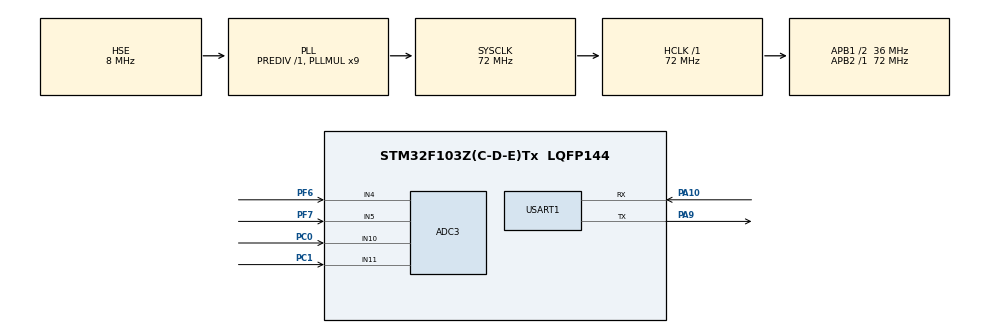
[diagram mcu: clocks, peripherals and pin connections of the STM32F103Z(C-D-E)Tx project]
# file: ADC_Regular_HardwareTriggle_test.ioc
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ADC3.Channel-0\#ChannelRegularConversion=ADC_CHANNEL_11
ADC3.Channel-1\#ChannelRegularConversion=ADC_CHANNEL_10
ADC3.Channel-2\#ChannelRegularConversion=ADC_CHANNEL_5
ADC3.Channel-3\#ChannelRegularConversion=ADC_CHANNEL_4
ADC3.ExternalTrigConv=ADC_EXTERNALTRIGCONV_T8_TRGO
ADC3.NbrOfConversion=4
ADC3.NbrOfConversionFlag=1
ADC3.Rank-0\#ChannelRegularConversion=1
ADC3.Rank-1\#ChannelRegularConversion=2
ADC3.Rank-2\#ChannelRegularConversion=3
ADC3.Rank-3\#ChannelRegularConversion=4
ADC3.SamplingTime-0\#ChannelRegularConversion=ADC_SAMPLETIME_1CYCLE_5
ADC3.SamplingTime-1\#ChannelRegularConversion=ADC_SAMPLETIME_1CYCLE_5
ADC3.SamplingTime-2\#ChannelRegularConversion=ADC_SAMPLETIME_1CYCLE_5
ADC3.SamplingTime-3\#ChannelRegularConversion=ADC_SAMPLETIME_1CYCLE_5
Dma.ADC3.0.Direction=DMA_PERIPH_TO_MEMORY
Dma.ADC3.0.Instance=DMA2_Channel5
Dma.ADC3.0.MemDataAlignment=DMA_MDATAALIGN_HALFWORD
Dma.ADC3.0.MemInc=DMA_MINC_ENABLE
Dma.ADC3.0.Mode=DMA_CIRCULAR
Dma.ADC3.0.PeriphDataAlignment=DMA_PDATAALIGN_HALFWORD
Dma.ADC3.0.PeriphInc=DMA_PINC_DISABLE
Dma.ADC3.0.Priority=DMA_PRIORITY_LOW
Dma.Request0=ADC3
Mcu.Family=STM32F1
Mcu.Name=STM32F103Z(C-D-E)Tx
Mcu.Package=LQFP144
NVIC.DMA2_Channel4_5_IRQn=true\:0\:0\:false\:false\:true\:false\:true\:true
NVIC.PriorityGroup=NVIC_PRIORITYGROUP_4
OSC_IN.Mode=HSE-External-Oscillator
OSC_IN.Signal=RCC_OSC_IN
OSC_OUT.Mode=HSE-External-Oscillator
OSC_OUT.Signal=RCC_OSC_OUT
PA10.Mode=Asynchronous
PA10.Signal=USART1_RX
PA13.Mode=Serial_Wire
PA13.Signal=SYS_JTMS-SWDIO
PA14.Mode=Serial_Wire
PA14.Signal=SYS_JTCK-SWCLK
PA9.Mode=Asynchronous
PA9.Signal=USART1_TX
PC0.Signal=ADCx_IN10
PC1.Signal=ADCx_IN11
PF6.Mode=IN4
PF6.Signal=ADC3_IN4
PF7.Mode=IN5
PF7.Signal=ADC3_IN5
ProjectManager.HeapSize=0x200
ProjectManager.StackSize=0x400
ProjectManager.TargetToolchain=MDK-ARM V5.32
RCC.ADCPresc=RCC_ADCPCLK2_DIV6
RCC.AHBFreq_Value=72000000
RCC.APB1CLKDivider=RCC_HCLK_DIV2
RCC.APB1Freq_Value=36000000
RCC.APB1TimFreq_Value=72000000
RCC.APB2Freq_Value=72000000
RCC.APB2TimFreq_Value=72000000
RCC.HCLKFreq_Value=72000000
RCC.PLLMUL=RCC_PLL_MUL9
RCC.PLLSourceVirtual=RCC_PLLSOURCE_HSE
RCC.SYSCLKFreq_VALUE=72000000
RCC.SYSCLKSource=RCC_SYSCLKSOURCE_PLLCLK
RCC.USBFreq_Value=72000000
SH.ADCx_IN10.0=ADC3_IN10,IN10
SH.ADCx_IN11.0=ADC3_IN11,IN11
TIM8.AutoReloadPreload=TIM_AUTORELOAD_PRELOAD_ENABLE
TIM8.Period=9999
TIM8.Prescaler=7199
TIM8.TIM_MasterOutputTrigger=TIM_TRGO_UPDATE
USART1.Parity=PARITY_ODD
USART1.VirtualMode=VM_ASYNC
USART1.WordLength=WORDLENGTH_9B
VP_TIM8_VS_ClockSourceINT.Mode=Internal
board=custom

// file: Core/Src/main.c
/* USER CODE BEGIN Header */
/**
  ******************************************************************************
  * @file           : main.c
  * @brief          : Main program body
  ******************************************************************************
  * @attention
  *
  * Copyright (c) 2026 STMicroelectronics.
  * All rights reserved.
  *
  * This software is licensed under terms that can be found in the LICENSE file
  * in the root directory of this software component.
  * If no LICENSE file comes with this software, it is provided AS-IS.
  *
  ******************************************************************************
  */
/* USER CODE END Header */
#include "main.h"
#include "adc.h"
#include "dma.h"
#include "tim.h"
#include "usart.h"
#include "gpio.h"

/* USER CODE BEGIN Includes */
#include "BSP_Usart_Redir_V2.h"
#include <stdbool.h>
/* USER CODE END Includes */

/* USER CODE BEGIN PV */
volatile bool g_is_dma_done = false;
/* USER CODE END PV */

void SystemClock_Config(void);

int main(void)
{

  /* MCU Configuration--------------------------------------------------------*/

  /* Reset of all peripherals, Initializes the Flash interface and the Systick. */
  HAL_Init();

  /* Configure the system clock */
  SystemClock_Config();

  /* Initialize all configured peripherals */
  MX_GPIO_Init();
  MX_DMA_Init();
  MX_ADC3_Init();
  MX_TIM8_Init();
  MX_USART1_UART_Init();
  /* USER CODE BEGIN 2 */
  BSP_Usart_Init(&huart1);

  volatile uint16_t values[4] = {0};
  const char* channel_name[] = {
    "ADC3 CHANNEL 11",
    "ADC3 CHANNEL 10",
    "ADC3 CHANNEL 5",
    "ADC3 CHANNEL 4"
  };

  HAL_ADCEx_Calibration_Start(&hadc3);

  HAL_ADC_Start_DMA(&hadc3, (uint32_t*)&values, 4);

  HAL_TIM_Base_Start(&htim8);

  /* USER CODE END 2 */

  /* Infinite loop */
  /* USER CODE BEGIN WHILE */
  while (1)
  {
    if(g_is_dma_done)
    {
      for(int i = 0; i < 4; i++)
      {
        printf(">>>")
      }
    }
    /* USER CODE END WHILE */

  }
}

void SystemClock_Config(void)
{
  RCC_OscInitTypeDef RCC_OscInitStruct = {0};
  RCC_ClkInitTypeDef RCC_ClkInitStruct = {0};
  RCC_PeriphCLKInitTypeDef PeriphClkInit = {0};

  /** Initializes the RCC Oscillators according to the specified parameters
  * in the RCC_OscInitTypeDef structure.
  */
  RCC_OscInitStruct.OscillatorType = RCC_OSCILLATORTYPE_HSE;
  RCC_OscInitStruct.HSEState = RCC_HSE_ON;
  RCC_OscInitStruct.HSEPredivValue = RCC_HSE_PREDIV_DIV1;
  RCC_OscInitStruct.HSIState = RCC_HSI_ON;
  RCC_OscInitStruct.PLL.PLLState = RCC_PLL_ON;
  RCC_OscInitStruct.PLL.PLLSource = RCC_PLLSOURCE_HSE;
  RCC_OscInitStruct.PLL.PLLMUL = RCC_PLL_MUL9;
  if (HAL_RCC_OscConfig(&RCC_OscInitStruct) != HAL_OK)
  {
    Error_Handler();
  }

  /** Initializes the CPU, AHB and APB buses clocks
  */
  RCC_ClkInitStruct.ClockType = RCC_CLOCKTYPE_HCLK|RCC_CLOCKTYPE_SYSCLK
                              |RCC_CLOCKTYPE_PCLK1|RCC_CLOCKTYPE_PCLK2;
  RCC_ClkInitStruct.SYSCLKSource = RCC_SYSCLKSOURCE_PLLCLK;
  RCC_ClkInitStruct.AHBCLKDivider = RCC_SYSCLK_DIV1;
  RCC_ClkInitStruct.APB1CLKDivider = RCC_HCLK_DIV2;
  RCC_ClkInitStruct.APB2CLKDivider = RCC_HCLK_DIV1;

  if (HAL_RCC_ClockConfig(&RCC_ClkInitStruct, FLASH_LATENCY_2) != HAL_OK)
  {
    Error_Handler();
  }
  PeriphClkInit.PeriphClockSelection = RCC_PERIPHCLK_ADC;
  PeriphClkInit.AdcClockSelection = RCC_ADCPCLK2_DIV6;
  if (HAL_RCCEx_PeriphCLKConfig(&PeriphClkInit) != HAL_OK)
  {
    Error_Handler();
  }
}

void Error_Handler(void)
{
  __disable_irq();
  while (1)
  {
  }
}
